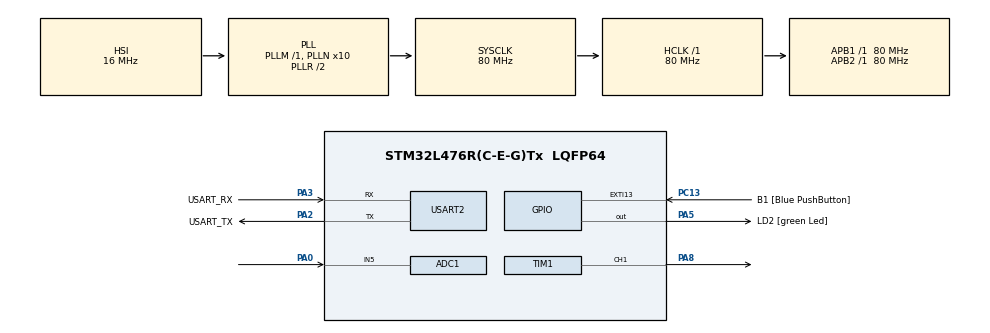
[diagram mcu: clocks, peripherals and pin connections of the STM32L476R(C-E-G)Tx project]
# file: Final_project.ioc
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ADC1.Channel-0\#ChannelRegularConversion=ADC_CHANNEL_5
ADC1.NbrOfConversionFlag=1
ADC1.OffsetNumber-0\#ChannelRegularConversion=ADC_OFFSET_NONE
ADC1.Rank-0\#ChannelRegularConversion=1
ADC1.SamplingTime-0\#ChannelRegularConversion=ADC_SAMPLETIME_2CYCLES_5
ADC1.master=1
Mcu.Family=STM32L4
Mcu.Name=STM32L476R(C-E-G)Tx
Mcu.Package=LQFP64
NVIC.PriorityGroup=NVIC_PRIORITYGROUP_4
PA0.Signal=ADCx_IN5
PA13\ (JTMS-SWDIO).GPIO_Label=TMS
PA13\ (JTMS-SWDIO).Mode=Serial_Wire
PA13\ (JTMS-SWDIO).Signal=SYS_JTMS-SWDIO
PA14\ (JTCK-SWCLK).GPIO_Label=TCK
PA14\ (JTCK-SWCLK).Mode=Serial_Wire
PA14\ (JTCK-SWCLK).Signal=SYS_JTCK-SWCLK
PA2.GPIO_Label=USART_TX
PA2.GPIO_Mode=GPIO_MODE_AF_PP
PA2.GPIO_PuPd=GPIO_NOPULL
PA2.GPIO_Speed=GPIO_SPEED_FREQ_VERY_HIGH
PA2.Mode=Asynchronous
PA2.Signal=USART2_TX
PA3.GPIO_Label=USART_RX
PA3.GPIO_Mode=GPIO_MODE_AF_PP
PA3.GPIO_PuPd=GPIO_NOPULL
PA3.GPIO_Speed=GPIO_SPEED_FREQ_VERY_HIGH
PA3.Mode=Asynchronous
PA3.Signal=USART2_RX
PA5.GPIO_Label=LD2 [green Led]
PA5.GPIO_ModeDefaultOutputPP=GPIO_MODE_OUTPUT_PP
PA5.GPIO_PuPd=GPIO_NOPULL
PA5.GPIO_Speed=GPIO_SPEED_FREQ_LOW
PA5.Signal=GPIO_Output
PA8.Signal=S_TIM1_CH1
PB3\ (JTDO-TRACESWO).GPIO_Label=SWO
PB3\ (JTDO-TRACESWO).Signal=SYS_JTDO-SWO
PC13.GPIO_Label=B1 [Blue PushButton]
PC13.GPIO_ModeDefaultEXTI=GPIO_MODE_IT_FALLING
PC13.GPIO_PuPd=GPIO_NOPULL
PC13.Signal=GPXTI13
PC14-OSC32_IN\ (PC14).Mode=LSE-External-Oscillator
PC14-OSC32_IN\ (PC14).Signal=RCC_OSC32_IN
PC15-OSC32_OUT\ (PC15).Mode=LSE-External-Oscillator
PC15-OSC32_OUT\ (PC15).Signal=RCC_OSC32_OUT
PH0-OSC_IN\ (PH0).Signal=RCC_OSC_IN
PH1-OSC_OUT\ (PH1).Signal=RCC_OSC_OUT
ProjectManager.HeapSize=0x200
ProjectManager.StackSize=0x400
ProjectManager.TargetToolchain=STM32CubeIDE
RCC.ADCFreq_Value=64000000
RCC.AHBFreq_Value=80000000
RCC.APB1Freq_Value=80000000
RCC.APB1TimFreq_Value=80000000
RCC.APB2Freq_Value=80000000
RCC.APB2TimFreq_Value=80000000
RCC.CortexFreq_Value=80000000
RCC.HCLKFreq_Value=80000000
RCC.HSE_VALUE=8000000
RCC.HSI_VALUE=16000000
RCC.MSI_VALUE=4000000
RCC.PLLN=10
RCC.PLLSourceVirtual=RCC_PLLSOURCE_HSI
RCC.PREFETCH_ENABLE=1
RCC.SYSCLKFreq_VALUE=80000000
RCC.SYSCLKSource=RCC_SYSCLKSOURCE_PLLCLK
RCC.USBFreq_Value=64000000
RCC.VCOOutputFreq_Value=160000000
SH.ADCx_IN5.0=ADC1_IN5,IN5-Single-Ended
SH.S_TIM1_CH1.0=TIM1_CH1,PWM Generation1 CH1
TIM1.Channel-PWM\ Generation1\ CH1=TIM_CHANNEL_1
TIM1.Prescaler=79
USART2.VirtualMode-Asynchronous=VM_ASYNC
board=NUCLEO-L476RG

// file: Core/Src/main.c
/* USER CODE BEGIN Header */
/**
  ******************************************************************************
  * @file           : main.c
  * @brief          : Main program body
  ******************************************************************************
  * @attention
  *
  * Copyright (c) 2026 STMicroelectronics.
  * All rights reserved.
  *
  * This software is licensed under terms that can be found in the LICENSE file
  * in the root directory of this software component.
  * If no LICENSE file comes with this software, it is provided AS-IS.
  *
  ******************************************************************************
  */
/* USER CODE END Header */
#include "main.h"

ADC_HandleTypeDef hadc1;

TIM_HandleTypeDef htim1;

UART_HandleTypeDef huart2;

/* USER CODE BEGIN PV */
uint32_t adc_val = 0;
uint32_t duty = 0;
uint32_t temp_c = 0;
char msg[100];
/* USER CODE END PV */

void SystemClock_Config(void);
static void MX_GPIO_Init(void);
static void MX_USART2_UART_Init(void);
static void MX_TIM1_Init(void);
static void MX_ADC1_Init(void);

/* USER CODE BEGIN 0 */
void UART_SendString(char *str)
{
    HAL_UART_Transmit(&huart2, (uint8_t *)str, strlen(str), HAL_MAX_DELAY);
}
/* USER CODE END 0 */

int main(void)
{

  /* MCU Configuration--------------------------------------------------------*/

  /* Reset of all peripherals, Initializes the Flash interface and the Systick. */
  HAL_Init();

  /* Configure the system clock */
  SystemClock_Config();

  /* Initialize all configured peripherals */
  MX_GPIO_Init();
  MX_USART2_UART_Init();
  MX_TIM1_Init();
  MX_ADC1_Init();
  /* USER CODE BEGIN 2 */
  HAL_TIM_PWM_Start(&htim1, TIM_CHANNEL_1);
  /* USER CODE END 2 */

  /* Infinite loop */
  while (1)
  {

    /* USER CODE BEGIN 3 */
	  HAL_ADC_Start(&hadc1);
	 	   HAL_ADC_PollForConversion(&hadc1, HAL_MAX_DELAY);
	 	   adc_val = HAL_ADC_GetValue(&hadc1);

	 	   temp_c = (adc_val * 50) / 4095;

	 	   if (temp_c < 25)
	 	   {
	 	       duty = 200;
	 	   }
	 	   else if (temp_c < 32)
	 	   {
	 	       duty = 500;
	 	   }
	 	   else
	 	   {
	 	       duty = 900;
	 	   }

	 	   __HAL_TIM_SET_COMPARE(&htim1, TIM_CHANNEL_1, duty);

	 	   sprintf(msg, "ADC=%lu Temp=%lu PWM=%lu\r\n", adc_val, temp_c, duty);
	 	   UART_SendString(msg);

	 	   HAL_Delay(500);
  }
  /* USER CODE END 3 */
}

void SystemClock_Config(void)
{
  RCC_OscInitTypeDef RCC_OscInitStruct = {0};
  RCC_ClkInitTypeDef RCC_ClkInitStruct = {0};

  /** Configure the main internal regulator output voltage
  */
  if (HAL_PWREx_ControlVoltageScaling(PWR_REGULATOR_VOLTAGE_SCALE1) != HAL_OK)
  {
    Error_Handler();
  }

  /** Initializes the RCC Oscillators according to the specified parameters
  * in the RCC_OscInitTypeDef structure.
  */
  RCC_OscInitStruct.OscillatorType = RCC_OSCILLATORTYPE_HSI;
  RCC_OscInitStruct.HSIState = RCC_HSI_ON;
  RCC_OscInitStruct.HSICalibrationValue = RCC_HSICALIBRATION_DEFAULT;
  RCC_OscInitStruct.PLL.PLLState = RCC_PLL_ON;
  RCC_OscInitStruct.PLL.PLLSource = RCC_PLLSOURCE_HSI;
  RCC_OscInitStruct.PLL.PLLM = 1;
  RCC_OscInitStruct.PLL.PLLN = 10;
  RCC_OscInitStruct.PLL.PLLP = RCC_PLLP_DIV7;
  RCC_OscInitStruct.PLL.PLLQ = RCC_PLLQ_DIV2;
  RCC_OscInitStruct.PLL.PLLR = RCC_PLLR_DIV2;
  if (HAL_RCC_OscConfig(&RCC_OscInitStruct) != HAL_OK)
  {
    Error_Handler();
  }

  /** Initializes the CPU, AHB and APB buses clocks
  */
  RCC_ClkInitStruct.ClockType = RCC_CLOCKTYPE_HCLK|RCC_CLOCKTYPE_SYSCLK
                              |RCC_CLOCKTYPE_PCLK1|RCC_CLOCKTYPE_PCLK2;
  RCC_ClkInitStruct.SYSCLKSource = RCC_SYSCLKSOURCE_PLLCLK;
  RCC_ClkInitStruct.AHBCLKDivider = RCC_SYSCLK_DIV1;
  RCC_ClkInitStruct.APB1CLKDivider = RCC_HCLK_DIV1;
  RCC_ClkInitStruct.APB2CLKDivider = RCC_HCLK_DIV1;

  if (HAL_RCC_ClockConfig(&RCC_ClkInitStruct, FLASH_LATENCY_4) != HAL_OK)
  {
    Error_Handler();
  }
}

static void MX_ADC1_Init(void)
{

  ADC_MultiModeTypeDef multimode = {0};
  ADC_ChannelConfTypeDef sConfig = {0};

  /** Common config
  */
  hadc1.Instance = ADC1;
  hadc1.Init.ClockPrescaler = ADC_CLOCK_ASYNC_DIV1;
  hadc1.Init.Resolution = ADC_RESOLUTION_12B;
  hadc1.Init.DataAlign = ADC_DATAALIGN_RIGHT;
  hadc1.Init.ScanConvMode = ADC_SCAN_DISABLE;
  hadc1.Init.EOCSelection = ADC_EOC_SINGLE_CONV;
  hadc1.Init.LowPowerAutoWait = DISABLE;
  hadc1.Init.ContinuousConvMode = DISABLE;
  hadc1.Init.NbrOfConversion = 1;
  hadc1.Init.DiscontinuousConvMode = DISABLE;
  hadc1.Init.ExternalTrigConv = ADC_SOFTWARE_START;
  hadc1.Init.ExternalTrigConvEdge = ADC_EXTERNALTRIGCONVEDGE_NONE;
  hadc1.Init.DMAContinuousRequests = DISABLE;
  hadc1.Init.Overrun = ADC_OVR_DATA_PRESERVED;
  hadc1.Init.OversamplingMode = DISABLE;
  if (HAL_ADC_Init(&hadc1) != HAL_OK)
  {
    Error_Handler();
  }

  /** Configure the ADC multi-mode
  */
  multimode.Mode = ADC_MODE_INDEPENDENT;
  if (HAL_ADCEx_MultiModeConfigChannel(&hadc1, &multimode) != HAL_OK)
  {
    Error_Handler();
  }

  /** Configure Regular Channel
  */
  sConfig.Channel = ADC_CHANNEL_5;
  sConfig.Rank = ADC_REGULAR_RANK_1;
  sConfig.SamplingTime = ADC_SAMPLETIME_2CYCLES_5;
  sConfig.SingleDiff = ADC_SINGLE_ENDED;
  sConfig.OffsetNumber = ADC_OFFSET_NONE;
  sConfig.Offset = 0;
  if (HAL_ADC_ConfigChannel(&hadc1, &sConfig) != HAL_OK)
  {
    Error_Handler();
  }

}

static void MX_TIM1_Init(void)
{

  TIM_MasterConfigTypeDef sMasterConfig = {0};
  TIM_OC_InitTypeDef sConfigOC = {0};
  TIM_BreakDeadTimeConfigTypeDef sBreakDeadTimeConfig = {0};

  htim1.Instance = TIM1;
  htim1.Init.Prescaler = 79;
  htim1.Init.CounterMode = TIM_COUNTERMODE_UP;
  htim1.Init.Period = 65535;
  htim1.Init.ClockDivision = TIM_CLOCKDIVISION_DIV1;
  htim1.Init.RepetitionCounter = 0;
  htim1.Init.AutoReloadPreload = TIM_AUTORELOAD_PRELOAD_DISABLE;
  if (HAL_TIM_PWM_Init(&htim1) != HAL_OK)
  {
    Error_Handler();
  }
  sMasterConfig.MasterOutputTrigger = TIM_TRGO_RESET;
  sMasterConfig.MasterOutputTrigger2 = TIM_TRGO2_RESET;
  sMasterConfig.MasterSlaveMode = TIM_MASTERSLAVEMODE_DISABLE;
  if (HAL_TIMEx_MasterConfigSynchronization(&htim1, &sMasterConfig) != HAL_OK)
  {
    Error_Handler();
  }
  sConfigOC.OCMode = TIM_OCMODE_PWM1;
  sConfigOC.Pulse = 0;
  sConfigOC.OCPolarity = TIM_OCPOLARITY_HIGH;
  sConfigOC.OCNPolarity = TIM_OCNPOLARITY_HIGH;
  sConfigOC.OCFastMode = TIM_OCFAST_DISABLE;
  sConfigOC.OCIdleState = TIM_OCIDLESTATE_RESET;
  sConfigOC.OCNIdleState = TIM_OCNIDLESTATE_RESET;
  if (HAL_TIM_PWM_ConfigChannel(&htim1, &sConfigOC, TIM_CHANNEL_1) != HAL_OK)
  {
    Error_Handler();
  }
  sBreakDeadTimeConfig.OffStateRunMode = TIM_OSSR_DISABLE;
  sBreakDeadTimeConfig.OffStateIDLEMode = TIM_OSSI_DISABLE;
  sBreakDeadTimeConfig.LockLevel = TIM_LOCKLEVEL_OFF;
  sBreakDeadTimeConfig.DeadTime = 0;
  sBreakDeadTimeConfig.BreakState = TIM_BREAK_DISABLE;
  sBreakDeadTimeConfig.BreakPolarity = TIM_BREAKPOLARITY_HIGH;
  sBreakDeadTimeConfig.BreakFilter = 0;
  sBreakDeadTimeConfig.Break2State = TIM_BREAK2_DISABLE;
  sBreakDeadTimeConfig.Break2Polarity = TIM_BREAK2POLARITY_HIGH;
  sBreakDeadTimeConfig.Break2Filter = 0;
  sBreakDeadTimeConfig.AutomaticOutput = TIM_AUTOMATICOUTPUT_DISABLE;
  if (HAL_TIMEx_ConfigBreakDeadTime(&htim1, &sBreakDeadTimeConfig) != HAL_OK)
  {
    Error_Handler();
  }
  HAL_TIM_MspPostInit(&htim1);

}

static void MX_USART2_UART_Init(void)
{

  huart2.Instance = USART2;
  huart2.Init.BaudRate = 115200;
  huart2.Init.WordLength = UART_WORDLENGTH_8B;
  huart2.Init.StopBits = UART_STOPBITS_1;
  huart2.Init.Parity = UART_PARITY_NONE;
  huart2.Init.Mode = UART_MODE_TX_RX;
  huart2.Init.HwFlowCtl = UART_HWCONTROL_NONE;
  huart2.Init.OverSampling = UART_OVERSAMPLING_16;
  huart2.Init.OneBitSampling = UART_ONE_BIT_SAMPLE_DISABLE;
  huart2.AdvancedInit.AdvFeatureInit = UART_ADVFEATURE_NO_INIT;
  if (HAL_UART_Init(&huart2) != HAL_OK)
  {
    Error_Handler();
  }

}

static void MX_GPIO_Init(void)
{
  GPIO_InitTypeDef GPIO_InitStruct = {0};

  /* GPIO Ports Clock Enable */
  __HAL_RCC_GPIOC_CLK_ENABLE();
  __HAL_RCC_GPIOH_CLK_ENABLE();
  __HAL_RCC_GPIOA_CLK_ENABLE();
  __HAL_RCC_GPIOB_CLK_ENABLE();

  /*Configure GPIO pin Output Level */
  HAL_GPIO_WritePin(LD2_GPIO_Port, LD2_Pin, GPIO_PIN_RESET);

  /*Configure GPIO pin : B1_Pin */
  GPIO_InitStruct.Pin = B1_Pin;
  GPIO_InitStruct.Mode = GPIO_MODE_IT_FALLING;
  GPIO_InitStruct.Pull = GPIO_NOPULL;
  HAL_GPIO_Init(B1_GPIO_Port, &GPIO_InitStruct);

  /*Configure GPIO pin : LD2_Pin */
  GPIO_InitStruct.Pin = LD2_Pin;
  GPIO_InitStruct.Mode = GPIO_MODE_OUTPUT_PP;
  GPIO_InitStruct.Pull = GPIO_NOPULL;
  GPIO_InitStruct.Speed = GPIO_SPEED_FREQ_LOW;
  HAL_GPIO_Init(LD2_GPIO_Port, &GPIO_InitStruct);

}

void Error_Handler(void)
{
  __disable_irq();
  while (1)
  {
  }
}
